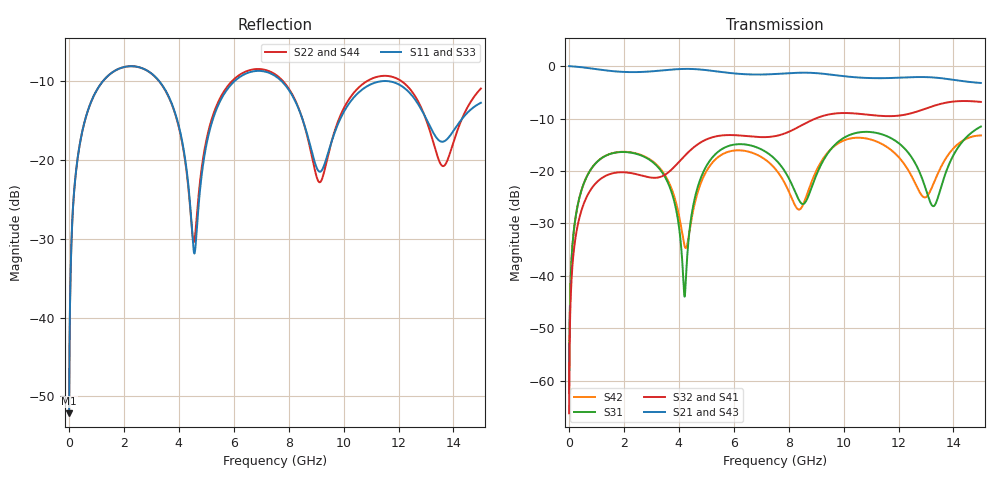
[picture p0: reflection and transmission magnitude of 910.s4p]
! Created with skrf 1.8.0 (http://scikit-rf.org).
# GHz S RI R 50.0
!freq ReS11 ImS11 ReS12 ImS12 ReS13 ImS13
! ReS14 ImS14
! ReS21 ImS21 ReS22 ImS22 ReS23 ImS23
! ReS24 ImS24
! ReS31 ImS31 ReS32 ImS32 ReS33 ImS33
! ReS34 ImS34
! ReS41 ImS41 ReS42 ImS42 ReS43 ImS43
! ReS44 ImS44
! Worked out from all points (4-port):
!   2499 points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, 5 MHz to 15 GHz, reference 50 ohm
!   strongest paths, dB at 5 MHz, 3.476 GHz, 7.19 GHz, 11.1 GHz, 15 GHz:
!     S21: 0.0, -0.8, -1.6, -2.3, -3.2
!     S43: 0.0, -0.8, -1.6, -2.3, -3.2
!     S32: -66.2, -20.8, -13.5, -9.4, -6.8
!     S41: -66.2, -20.8, -13.5, -9.4, -6.8
!     S31: -62.3, -21.0, -16.4, -12.6, -11.5
!     S42: -62.3, -20.6, -18.0, -14.2, -13.2
!   lowest |S11| = -52.1 dB at 5 MHz (marker M1), VSWR 1.00, Z = 50.2 + j0.15 ohm
!   |S11| at or under -10 dB: 3.293 GHz to 6.021 GHz (2.728 GHz wide, 58.6 % of centre); 7.75 GHz to 11.34 GHz (3.592 GHz wide, 37.6 % of centre); 11.68 GHz to end of sweep (the widest 3 of 4)
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0.005  0.00197 0.0015  0.998 -0.00383  9.92e-05 0.00076  -9.64e-05 -0.00048
       0.998 -0.00383  0.00197 0.0015  -9.64e-05 -0.00048  9.92e-05 0.00076
       9.92e-05 0.00076  -9.64e-05 -0.00048  0.00197 0.0015  0.998 -0.00383
       -9.64e-05 -0.00048  9.92e-05 0.00076  0.998 -0.00383  0.00197 0.0015
1.3193  0.2783 0.1763  0.5341 -0.7377  0.1263 0.058  -0.0894 -0.00396
        0.5341 -0.7377  0.2781 0.1763  -0.0894 -0.00392  0.1271 0.0567
        0.1263 0.058  -0.0894 -0.00392  0.2783 0.1763  0.5341 -0.7377
        -0.0894 -0.00396  0.1271 0.0567  0.5341 -0.7377  0.2781 0.1763
4.208003  0.0486 -0.0963  -0.8915 -0.2973  0.00634 -0.000121  -0.0398 0.1332
          -0.8915 -0.2973  0.0513 -0.0916  -0.0393 0.1334  -0.0176 -0.00802
          0.00634 -0.000121  -0.0393 0.1334  0.0486 -0.0951  -0.8917 -0.2971
          -0.0398 0.1332  -0.0176 -0.00802  -0.8917 -0.2971  0.0505 -0.0906
5.389746  0.144 0.1586  -0.7683 0.4475  0.1304 0.0728  0.1369 0.1654
          -0.7683 0.4475  0.1565 0.1611  0.1375 0.165  0.0974 0.0904
          0.1304 0.0728  0.1375 0.165  0.145 0.1594  -0.768 0.4473
          0.1369 0.1654  0.0974 0.0904  -0.768 0.4473  0.1568 0.1626
9.160067  0.0846 -0.00196  0.8432 0.1057  0.00357 0.1121  0.0342 -0.3276
          0.8432 0.1057  0.0729 0.000176  0.032 -0.3278  -0.00983 0.1192
          0.00357 0.1121  0.032 -0.3278  0.0853 -0.00382  0.843 0.1082
          0.0342 -0.3276  -0.00983 0.1192  0.843 0.1082  0.0725 -0.00127
11.9925  0.2965 -0.0654  -0.1002 -0.7678  0.0995 -0.1565  -0.3229 0.0927
         -0.1002 -0.7678  0.3119 -0.0956  -0.3225 0.0964  0.0912 -0.102
         0.0995 -0.1565  -0.3225 0.0964  0.294 -0.0603  -0.097 -0.7694
         -0.3229 0.0927  0.0912 -0.102  -0.097 -0.7694  0.3091 -0.0968
15  0.2282 0.0369  -0.5704 0.389  0.2645 0.0175  0.3198 0.3252
    -0.5704 0.389  0.2652 0.1035  0.3225 0.3216  0.1837 0.1177
    0.2645 0.0175  0.3225 0.3216  0.234 0.0379  -0.5732 0.3833
    0.3198 0.3252  0.1837 0.1177  -0.5732 0.3833  0.2622 0.1133
